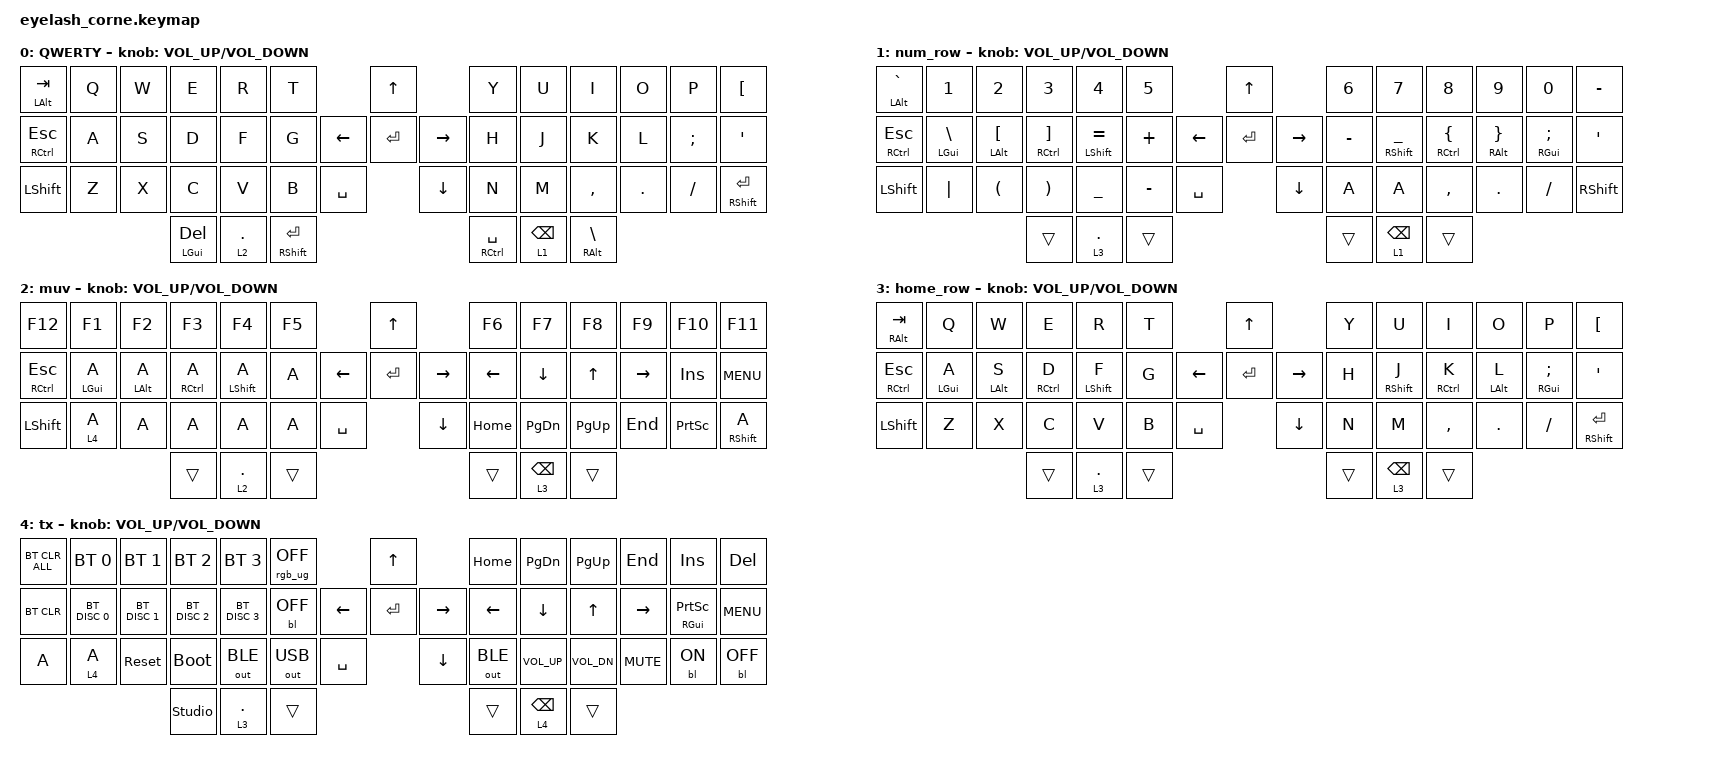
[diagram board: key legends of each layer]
#define ZMK_POINTING_DEFAULT_MOVE_VAL 1200  // 600
#define ZMK_POINTING_DEFAULT_SCRL_VAL 25   // 10

#include <input/processors.dtsi>
#include <zephyr/dt-bindings/input/input-event-codes.h>
#include <behaviors.dtsi>
#include <dt-bindings/zmk/backlight.h>
#include <dt-bindings/zmk/bt.h>
#include <dt-bindings/zmk/keys.h>
#include <dt-bindings/zmk/outputs.h>
#include <dt-bindings/zmk/pointing.h>
#include <dt-bindings/zmk/rgb.h>

&mmv_input_listener { input-processors = <&zip_xy_scaler 2 1>; };

&msc_input_listener { input-processors = <&zip_scroll_scaler 2 1>; };

&msc {
    acceleration-exponent = <1>;      // 0
    time-to-max-speed-ms = <100>;       // 300
    delay-ms = <0>;                   // 0
};

&mmv {
    time-to-max-speed-ms = <500>;
    acceleration-exponent = <1>;
    trigger-period-ms = <16>;
};

/ {
    behaviors {
        td0: td0 {
            compatible = "zmk,behavior-tap-dance";
            display-name = "Shift/Caps Lock Tap Dance";
            #binding-cells = <0>;
            bindings = <&kp LEFT_SHIFT>, <&kp CAPS>;
        };

        tap_hold: tap_hold {
            compatible = "zmk,behavior-hold-tap";
            label = "TAP_HOLD";
            bindings = <&kp>, <&kp>;

            #binding-cells = <2>;
            tapping-term-ms = <30>;
            flavor = "balanced";
            quick-tap-ms = <28>;
        };
    };

    rgb_encoder: rgb_encoder {
        compatible = "zmk,behavior-sensor-rotate";
        #sensor-binding-cells = <0>;
        bindings = <&rgb_ug RGB_BRI>, <&rgb_ug RGB_BRD>;
    };

    scroll_encoder: scroll_encoder {
        compatible = "zmk,behavior-sensor-rotate";
        #sensor-binding-cells = <0>;
        bindings = <&msc SCRL_DOWN>, <&msc SCRL_UP>;

        tap-ms = <100>;
    };

    combos {
        compatible = "zmk,combos";

        comb13 {
            bindings = <&kp FSLH>;
            key-positions = <5 7>;
            layers = <1>;
        };

        comb14 {
            bindings = <&kp QMARK>;
            key-positions = <18 22>;
            layers = <1>;
        };

        comb15 {
            bindings = <&kp LT>;
            key-positions = <4 3>;
            layers = <1>;
        };

        comb16 {
            bindings = <&kp GT>;
            key-positions = <8 9>;
            layers = <1>;
        };

        comb17 {
            bindings = <&kp COMMA>;
            key-positions = <3 2>;
            layers = <1>;
        };

        comb18 {
            bindings = <&kp DOT>;
            key-positions = <9 10>;
            layers = <1>;
        };

        comb19 {
            bindings = <&kp SEMICOLON>;
            key-positions = <31 32>;
            layers = <1>;
        };

        comb20 {
            bindings = <&kp COLON>;
            key-positions = <31 30>;
            layers = <1>;
        };

        comb22 {
            bindings = <&kp SQT>;
            key-positions = <37 38>;
            layers = <1>;
        };

        comb23 {
            bindings = <&kp DQT>;
            key-positions = <38 39>;
            layers = <1>;
        };

        comb11 {
            bindings = <&to 4>;
            key-positions = <28 29>;
            layers = <2>;
        };

        comb24 {
            bindings = <&kp LBRC>;
            key-positions = <4 5>;
            layers = <1>;
        };

        comb25 {
            bindings = <&kp RBRC>;
            key-positions = <7 8>;
            layers = <1>;
        };
    };

    keymap {
        compatible = "zmk,keymap";

        new_default {
            display-name = "QWERTY";
            bindings = <
&mt LALT TAB      &kp Q  &kp W  &kp E             &kp R         &kp T                                         &kp UP                &kp Y            &kp U            &kp I               &kp O    &kp P     &kp LEFT_BRACKET
&mt RCTRL ESCAPE  &kp A  &kp S  &kp D             &kp F         &kp G                               &kp LEFT  &kp ENTER  &kp RIGHT  &kp H            &kp J            &kp K               &kp L    &kp SEMI  &kp SQT
&kp LSHFT         &kp Z  &kp X  &kp C             &kp V         &kp B                  &kp SPACE              &kp DOWN              &kp N            &kp M            &kp COMMA           &kp DOT  &kp FSLH  &mt RIGHT_SHIFT ENTER
                                &mt LEFT_GUI DEL  &lt 2 PERIOD  &mt RIGHT_SHIFT ENTER                                               &mt RCTRL SPACE  &lt 1 BACKSPACE  &mt RALT BACKSLASH
            >;

            sensor-bindings = <&inc_dec_kp C_VOLUME_UP C_VOLUME_DOWN>;
        };

        layer_num {
            display-name = "num_row";
            bindings = <
&mt LALT GRAVE  &kp NUMBER_1            &kp NUMBER_2           &kp NUMBER_3             &kp NUMBER_4      &kp N5                            &kp UP                &kp N6     &kp N7                 &kp N8                &kp N9         &kp N0         &kp MINUS
&mt RCTRL ESC   &mt LEFT_GUI BACKSLASH  &mt LALT LEFT_BRACKET  &mt RCTRL RIGHT_BRACKET  &mt LSHIFT EQUAL  &kp PLUS                &kp LEFT  &kp ENTER  &kp RIGHT  &kp MINUS  &mt RIGHT_SHIFT UNDER  &mt RCTRL LEFT_BRACE  &mt RALT RBRC  &mt RGUI SEMI  &kp SQT
&kp LSHFT       &kp PIPE                &kp LEFT_PARENTHESIS   &kp RIGHT_PARENTHESIS    &kp UNDER         &kp MINUS  &kp SPACE              &kp DOWN              &kp A      &kp A                  &kp COMMA             &kp PERIOD     &kp SLASH      &kp RIGHT_SHIFT
                                                               &trans                   &lt 3 PERIOD      &trans                                                  &trans     &lt 1 BACKSPACE        &trans
            >;

            sensor-bindings = <&inc_dec_kp C_VOLUME_UP C_VOLUME_DOWN>;
        };

        layer_7 {
            display-name = "muv";
            bindings = <
&kp F12         &kp F1      &kp F2          &kp F3       &kp F4            &kp F5                         &kp UP                &kp F6    &kp F7           &kp F8     &kp F9     &kp F10          &kp F11
&mt RCTRL ESC   &mt LGUI A  &mt LEFT_ALT A  &mt RCTRL A  &mt LEFT_SHIFT A  &kp A                &kp LEFT  &kp ENTER  &kp RIGHT  &kp LEFT  &kp DOWN         &kp UP     &kp RIGHT  &kp INSERT       &kp C_MENU
&kp LEFT_SHIFT  &lt 4 A     &kp A           &kp A        &kp A             &kp A   &kp SPACE              &kp DOWN              &kp HOME  &kp PAGE_DOWN    &kp PG_UP  &kp END    &kp PRINTSCREEN  &mt RIGHT_SHIFT A
                                            &trans       &lt 2 PERIOD      &trans                                               &trans    &lt 3 BACKSPACE  &trans
            >;

            sensor-bindings = <&inc_dec_kp C_VOLUME_UP C_VOLUME_DOWN>;
        };

        layer_home_row {
            display-name = "home_row";
            bindings = <
&mt RALT TAB      &kp Q       &kp W       &kp E        &kp R         &kp T                          &kp UP                &kp Y   &kp U            &kp I        &kp O       &kp P          &kp LEFT_BRACKET
&mt RCTRL ESCAPE  &mt LGUI A  &mt LALT S  &mt RCTRL D  &mt LSHIFT F  &kp G                &kp LEFT  &kp ENTER  &kp RIGHT  &kp H   &mt RSHIFT J     &mt RCTRL K  &mt LALT L  &mt RGUI SEMI  &kp SQT
&kp LSHFT         &kp Z       &kp X       &kp C        &kp V         &kp B   &kp SPACE              &kp DOWN              &kp N   &kp M            &kp COMMA    &kp DOT     &kp FSLH       &mt RIGHT_SHIFT ENTER
                                          &trans       &lt 3 PERIOD  &trans                                               &trans  &lt 3 BACKSPACE  &trans
            >;

            sensor-bindings = <&inc_dec_kp C_VOLUME_UP C_VOLUME_DOWN>;
        };

        layer_4 {
            display-name = "tx";
            bindings = <
&bt BT_CLR_ALL  &bt BT_SEL 0   &bt BT_SEL 1   &bt BT_SEL 2    &bt BT_SEL 3   &rgb_ug RGB_OFF                         &kp UP                &kp HOME      &kp PAGE_DOWN    &kp PG_UP     &kp END     &kp INS               &kp DELETE
&bt BT_CLR      &bt BT_DISC 0  &bt BT_DISC 1  &bt BT_DISC 2   &bt BT_DISC 3  &bl BL_OFF                    &kp LEFT  &kp ENTER  &kp RIGHT  &kp LEFT      &kp DOWN         &kp UP        &kp RIGHT   &mt RGUI PRINTSCREEN  &kp C_MENU
&kp A           &lt 4 A        &sys_reset     &bootloader     &out OUT_BLE   &out OUT_USB     &kp SPACE              &kp DOWN              &out OUT_BLE  &kp C_VOL_UP     &kp C_VOL_DN  &kp C_MUTE  &bl BL_ON             &bl BL_OFF
                                              &studio_unlock  &lt 3 PERIOD   &trans                                                        &trans        &lt 4 BACKSPACE  &trans
            >;

            sensor-bindings = <&inc_dec_kp C_VOLUME_UP C_VOLUME_DOWN>;
        };
    };
};
